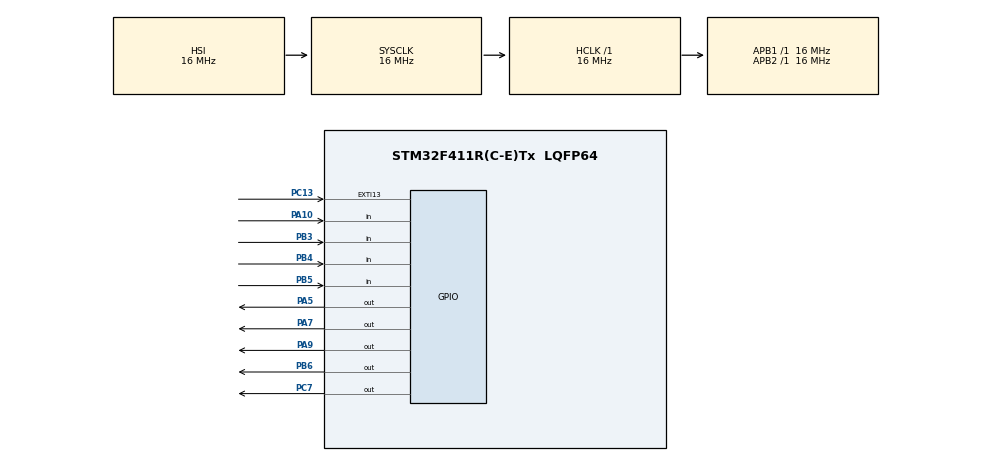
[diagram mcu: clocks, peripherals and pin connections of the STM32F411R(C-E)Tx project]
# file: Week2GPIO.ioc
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Mcu.Family=STM32F4
Mcu.Name=STM32F411R(C-E)Tx
Mcu.Package=LQFP64
NVIC.PriorityGroup=NVIC_PRIORITYGROUP_4
PA10.GPIO_PuPd=GPIO_PULLUP
PA10.Signal=GPIO_Input
PA2.Signal=USART2_TX
PA3.Signal=USART2_RX
PA5.GPIO_ModeDefaultOutputPP=GPIO_MODE_OUTPUT_PP
PA5.Signal=GPIO_Output
PA7.PinState=GPIO_PIN_SET
PA7.Signal=GPIO_Output
PA9.PinState=GPIO_PIN_SET
PA9.Signal=GPIO_Output
PB3.GPIO_PuPd=GPIO_PULLUP
PB3.Signal=GPIO_Input
PB4.GPIO_PuPd=GPIO_PULLUP
PB4.Signal=GPIO_Input
PB5.GPIO_PuPd=GPIO_PULLUP
PB5.Signal=GPIO_Input
PB6.PinState=GPIO_PIN_SET
PB6.Signal=GPIO_Output
PC13-ANTI_TAMP.GPIO_ModeDefaultEXTI=GPIO_MODE_IT_FALLING
PC13-ANTI_TAMP.Signal=GPXTI13
PC14-OSC32_IN.Signal=RCC_OSC32_IN
PC15-OSC32_OUT.Signal=RCC_OSC32_OUT
PC7.PinState=GPIO_PIN_SET
PC7.Signal=GPIO_Output
PH0\ -\ OSC_IN.Signal=RCC_OSC_IN
PH1\ -\ OSC_OUT.Signal=RCC_OSC_OUT
ProjectManager.HeapSize=0x200
ProjectManager.StackSize=0x400
ProjectManager.TargetToolchain=STM32CubeIDE
RCC.AHBFreq_Value=16000000
RCC.APB1Freq_Value=16000000
RCC.APB2Freq_Value=16000000
RCC.CortexFreq_Value=16000000
RCC.HSE_VALUE=25000000
RCC.HSI_VALUE=16000000
RCC.LSE_VALUE=32768
RCC.SYSCLKFreq_VALUE=16000000
RCC.VCOOutputFreq_Value=192000000
VP_TIM1_VS_ClockSourceINT.Mode=Internal
board=custom

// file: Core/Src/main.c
/* USER CODE BEGIN Header */
/**
 ******************************************************************************
 * @file           : main.c
 * @brief          : Main program body
 ******************************************************************************
 * @attention
 *
 * <h2><center>&copy; Copyright (c) 2021 STMicroelectronics.
 * All rights reserved.</center></h2>
 *
 * This software component is licensed by ST under BSD 3-Clause license,
 * the "License"; You may not use this file except in compliance with the
 * License. You may obtain a copy of the License at:
 *                        opensource.org/licenses/BSD-3-Clause
 *
 ******************************************************************************
 */
/* USER CODE END Header */
#include "main.h"

TIM_HandleTypeDef htim1;

/* USER CODE BEGIN PV */
//save state of Button Matrix
uint16_t BMS = 0;

//Button TimeStamp
uint32_t BMT = 0;
uint32_t Timestamp = 0;

GPIO_TypeDef *Data[11] = { 0b0 };
int data = 0;

/* USER CODE END PV */

void SystemClock_Config(void);
static void MX_GPIO_Init(void);
static void MX_TIM1_Init(void);
/* USER CODE BEGIN PFP */
//scan and update data of Button Matrix
void BMU();
/* USER CODE END PFP */

int main(void)
{

  /* MCU Configuration--------------------------------------------------------*/

  /* Reset of all peripherals, Initializes the Flash interface and the Systick. */
  HAL_Init();

  /* Configure the system clock */
  SystemClock_Config();

  /* Initialize all configured peripherals */
  MX_GPIO_Init();
  MX_TIM1_Init();

  /* Infinite loop */
	while (1) {

    /* USER CODE BEGIN 3 */

		BMU();
		if (HAL_GetTick() - Timestamp >= 250) { //ปรับให้ได้ค่าที่เหมาะสมต่อ�?าร�?ด

			if (BMS == 0b1) { //เช็คว่าตอนนี้�?ำลัง�?ดปุ่มใดอยู่ �?ละเป็น�?าร�?ำหนดว่า ให้ปุ่มนี้�?สดงค่าเลขอะไรออ�?มา หลังจา�?นั้นทำ�?าร +1 ให้ค่าของ data เพื่อเพิ่มค่าของตำ�?หน่งข้อมูลไปเรื่อยๆ �?ล้วจึงทำ�?ารเซ็ทค่า Timestamp
				Data[data] = 7;data += 1;Timestamp = HAL_GetTick();
			}
			else if (BMS == 0b10) {
				Data[data] = 8;data += 1;Timestamp = HAL_GetTick();
			}
			else if (BMS == 0b100) {
				Data[data] = 9;data += 1;Timestamp = HAL_GetTick();
			}
			else if (BMS == 0b10000) {
				Data[data] = 4;data += 1;Timestamp = HAL_GetTick();
			}
			else if (BMS == 0b100000) {
				Data[data] = 5;data += 1;Timestamp = HAL_GetTick();
			}
			else if (BMS == 0b1000000) {
				Data[data] = 6;data += 1;Timestamp = HAL_GetTick();
			}
			else if (BMS == 0b100000000) {
				Data[data] = 1;data += 1;Timestamp = HAL_GetTick();
			}
			else if (BMS == 0b1000000000) {
				Data[data] = 2;data += 1;Timestamp = HAL_GetTick();
			}
			else if (BMS == 0b10000000000) {
				Data[data] = 3;data += 1;Timestamp = HAL_GetTick();
			}
			else if (BMS == 0b1000000000000) {
				Data[data] = 0;data += 1;Timestamp = HAL_GetTick();
			}

			else if (BMS == 0b1000) { //ถ้ามี�?าร�?ดปุ่ม clear จะทำ�?ารรีเซ็ทข้อมูลทุ�?ตำ�?หน่งให้เป็น 0 �?ละไฟจะดับใน�?รณีที่�?่อนหน้านี้ไฟติด
				int i ;
				for (i = 0; i < 12; ++i) {
				Data[i] = 0;
				}
				HAL_GPIO_WritePin(GPIOA, GPIO_PIN_5, GPIO_PIN_RESET);
				Timestamp = HAL_GetTick();
			}

			else if (BMS == 0b1000000000000000) { //ถ้า�?ดปุ่ม ok �?ล้วใส่รหัสถู�?ตามที่�?ำหนด ไฟจะติดสว่างขึ้น
				if (Data[0] == 6 && Data[1] == 2 && Data[2] == 3 && Data[3] == 4 && Data[4] == 0 && Data[5] == 5
					&& Data[6] == 0 && Data[7] == 0 && Data[8] == 0 && Data[9] == 5 && Data[10] == 8)
				{
					HAL_GPIO_WritePin(GPIOA, GPIO_PIN_5, GPIO_PIN_SET);
				}

				Timestamp = HAL_GetTick();
			}

		}
	}

  /* USER CODE END 3 */
}

void SystemClock_Config(void)
{
  RCC_OscInitTypeDef RCC_OscInitStruct = {0};
  RCC_ClkInitTypeDef RCC_ClkInitStruct = {0};

  /** Configure the main internal regulator output voltage
  */
  __HAL_RCC_PWR_CLK_ENABLE();
  __HAL_PWR_VOLTAGESCALING_CONFIG(PWR_REGULATOR_VOLTAGE_SCALE1);
  /** Initializes the RCC Oscillators according to the specified parameters
  * in the RCC_OscInitTypeDef structure.
  */
  RCC_OscInitStruct.OscillatorType = RCC_OSCILLATORTYPE_HSI;
  RCC_OscInitStruct.HSIState = RCC_HSI_ON;
  RCC_OscInitStruct.HSICalibrationValue = RCC_HSICALIBRATION_DEFAULT;
  RCC_OscInitStruct.PLL.PLLState = RCC_PLL_NONE;
  if (HAL_RCC_OscConfig(&RCC_OscInitStruct) != HAL_OK)
  {
    Error_Handler();
  }
  /** Initializes the CPU, AHB and APB buses clocks
  */
  RCC_ClkInitStruct.ClockType = RCC_CLOCKTYPE_HCLK|RCC_CLOCKTYPE_SYSCLK
                              |RCC_CLOCKTYPE_PCLK1|RCC_CLOCKTYPE_PCLK2;
  RCC_ClkInitStruct.SYSCLKSource = RCC_SYSCLKSOURCE_HSI;
  RCC_ClkInitStruct.AHBCLKDivider = RCC_SYSCLK_DIV1;
  RCC_ClkInitStruct.APB1CLKDivider = RCC_HCLK_DIV1;
  RCC_ClkInitStruct.APB2CLKDivider = RCC_HCLK_DIV1;

  if (HAL_RCC_ClockConfig(&RCC_ClkInitStruct, FLASH_LATENCY_0) != HAL_OK)
  {
    Error_Handler();
  }
}

static void MX_TIM1_Init(void)
{

  TIM_ClockConfigTypeDef sClockSourceConfig = {0};
  TIM_MasterConfigTypeDef sMasterConfig = {0};

  htim1.Instance = TIM1;
  htim1.Init.Prescaler = 0;
  htim1.Init.CounterMode = TIM_COUNTERMODE_UP;
  htim1.Init.Period = 65535;
  htim1.Init.ClockDivision = TIM_CLOCKDIVISION_DIV1;
  htim1.Init.RepetitionCounter = 0;
  htim1.Init.AutoReloadPreload = TIM_AUTORELOAD_PRELOAD_DISABLE;
  if (HAL_TIM_Base_Init(&htim1) != HAL_OK)
  {
    Error_Handler();
  }
  sClockSourceConfig.ClockSource = TIM_CLOCKSOURCE_INTERNAL;
  if (HAL_TIM_ConfigClockSource(&htim1, &sClockSourceConfig) != HAL_OK)
  {
    Error_Handler();
  }
  sMasterConfig.MasterOutputTrigger = TIM_TRGO_RESET;
  sMasterConfig.MasterSlaveMode = TIM_MASTERSLAVEMODE_DISABLE;
  if (HAL_TIMEx_MasterConfigSynchronization(&htim1, &sMasterConfig) != HAL_OK)
  {
    Error_Handler();
  }

}

static void MX_GPIO_Init(void)
{
  GPIO_InitTypeDef GPIO_InitStruct = {0};

  /* GPIO Ports Clock Enable */
  __HAL_RCC_GPIOC_CLK_ENABLE();
  __HAL_RCC_GPIOH_CLK_ENABLE();
  __HAL_RCC_GPIOA_CLK_ENABLE();
  __HAL_RCC_GPIOB_CLK_ENABLE();

  /*Configure GPIO pin Output Level */
  HAL_GPIO_WritePin(GPIOA, GPIO_PIN_5, GPIO_PIN_RESET);

  /*Configure GPIO pin Output Level */
  HAL_GPIO_WritePin(GPIOA, GPIO_PIN_7|GPIO_PIN_9, GPIO_PIN_SET);

  /*Configure GPIO pin Output Level */
  HAL_GPIO_WritePin(GPIOC, GPIO_PIN_7, GPIO_PIN_SET);

  /*Configure GPIO pin Output Level */
  HAL_GPIO_WritePin(GPIOB, GPIO_PIN_6, GPIO_PIN_SET);

  /*Configure GPIO pin : PC13 */
  GPIO_InitStruct.Pin = GPIO_PIN_13;
  GPIO_InitStruct.Mode = GPIO_MODE_IT_FALLING;
  GPIO_InitStruct.Pull = GPIO_NOPULL;
  HAL_GPIO_Init(GPIOC, &GPIO_InitStruct);

  /*Configure GPIO pins : PA2 PA3 */
  GPIO_InitStruct.Pin = GPIO_PIN_2|GPIO_PIN_3;
  GPIO_InitStruct.Mode = GPIO_MODE_AF_PP;
  GPIO_InitStruct.Pull = GPIO_NOPULL;
  GPIO_InitStruct.Speed = GPIO_SPEED_FREQ_VERY_HIGH;
  GPIO_InitStruct.Alternate = GPIO_AF7_USART2;
  HAL_GPIO_Init(GPIOA, &GPIO_InitStruct);

  /*Configure GPIO pins : PA5 PA7 PA9 */
  GPIO_InitStruct.Pin = GPIO_PIN_5|GPIO_PIN_7|GPIO_PIN_9;
  GPIO_InitStruct.Mode = GPIO_MODE_OUTPUT_PP;
  GPIO_InitStruct.Pull = GPIO_NOPULL;
  GPIO_InitStruct.Speed = GPIO_SPEED_FREQ_LOW;
  HAL_GPIO_Init(GPIOA, &GPIO_InitStruct);

  /*Configure GPIO pin : PC7 */
  GPIO_InitStruct.Pin = GPIO_PIN_7;
  GPIO_InitStruct.Mode = GPIO_MODE_OUTPUT_PP;
  GPIO_InitStruct.Pull = GPIO_NOPULL;
  GPIO_InitStruct.Speed = GPIO_SPEED_FREQ_LOW;
  HAL_GPIO_Init(GPIOC, &GPIO_InitStruct);

  /*Configure GPIO pin : PA10 */
  GPIO_InitStruct.Pin = GPIO_PIN_10;
  GPIO_InitStruct.Mode = GPIO_MODE_INPUT;
  GPIO_InitStruct.Pull = GPIO_PULLUP;
  HAL_GPIO_Init(GPIOA, &GPIO_InitStruct);

  /*Configure GPIO pins : PB3 PB4 PB5 */
  GPIO_InitStruct.Pin = GPIO_PIN_3|GPIO_PIN_4|GPIO_PIN_5;
  GPIO_InitStruct.Mode = GPIO_MODE_INPUT;
  GPIO_InitStruct.Pull = GPIO_PULLUP;
  HAL_GPIO_Init(GPIOB, &GPIO_InitStruct);

  /*Configure GPIO pin : PB6 */
  GPIO_InitStruct.Pin = GPIO_PIN_6;
  GPIO_InitStruct.Mode = GPIO_MODE_OUTPUT_PP;
  GPIO_InitStruct.Pull = GPIO_NOPULL;
  GPIO_InitStruct.Speed = GPIO_SPEED_FREQ_LOW;
  HAL_GPIO_Init(GPIOB, &GPIO_InitStruct);

}

/* USER CODE BEGIN 4 */
//port/pin array , 0-3 input , 4-7 output
GPIO_TypeDef *BMPort[8] = {GPIOA,GPIOB,GPIOB,GPIOB,
							GPIOA,GPIOC,GPIOB,GPIOA};
uint16_t BMPin[8] = {GPIO_PIN_10,GPIO_PIN_3,GPIO_PIN_5,GPIO_PIN_4,
						GPIO_PIN_9,GPIO_PIN_7,GPIO_PIN_6,GPIO_PIN_7};
uint8_t BMLine = 0;
void BMU()
{
 if (HAL_GetTick() - BMT >= 50)  //Delay For electronic Change
 {
  BMT = HAL_GetTick();
  int i;
  for(i=0; i<4 ; ++i) //A10 B3 B5 B4
  { //Position/Button Read 0-3
   GPIO_PinState PinState = HAL_GPIO_ReadPin(BMPort[i], BMPin[i]);
   if(PinState == GPIO_PIN_RESET) //Press Button
   {
    BMS |= (uint16_t)0x1 <<(i + BMLine * 4); //Change BMS , 0x1 is 1 ,Ex.(0b0000000000000000 | 0b1) << i = 0b1000 --> (i = 3)

   }
   else //don't press
   {
    BMS &= ~((uint16_t)0x1 <<(i + BMLine * 4)); //Set Bit to 0,Ex.(0b0000000000000000 & ~(0b1)) << i = 0b0111 --> (i = 3)
   }
  }

  uint8_t NowOutPin = BMLine +4; //Now Button 0-3 [+4] for go to Button 4-7 [R2]

  HAL_GPIO_WritePin(BMPort[NowOutPin], BMPin[NowOutPin], GPIO_PIN_SET); //Set R1

  BMLine = (BMLine +1) % 4; // หารเอาเศษ เพื่อรีเซ็ท�?ลับมา 0 อัตโนมัติ ถ้ามันเ�?ิน

  uint8_t NextOutPin = BMLine +4;

  HAL_GPIO_WritePin(BMPort[NextOutPin], BMPin[NextOutPin], GPIO_PIN_RESET); //Reset R2 for Run Continue
 }

 //Reset R1 อัตโนมัติเมื่อถึง Reset R4 ถ้าจะเขียน  Loop �?ร�?ด้วย �?็เขียนไว้�?่อน While เพื่อตั้งค่าไว้ตั้ง�?ต่�?ร�?
}
/* USER CODE END 4 */

void Error_Handler(void)
{
	__disable_irq();
	while (1) {
	}
}

/************************ (C) COPYRIGHT STMicroelectronics *****END OF FILE****/
